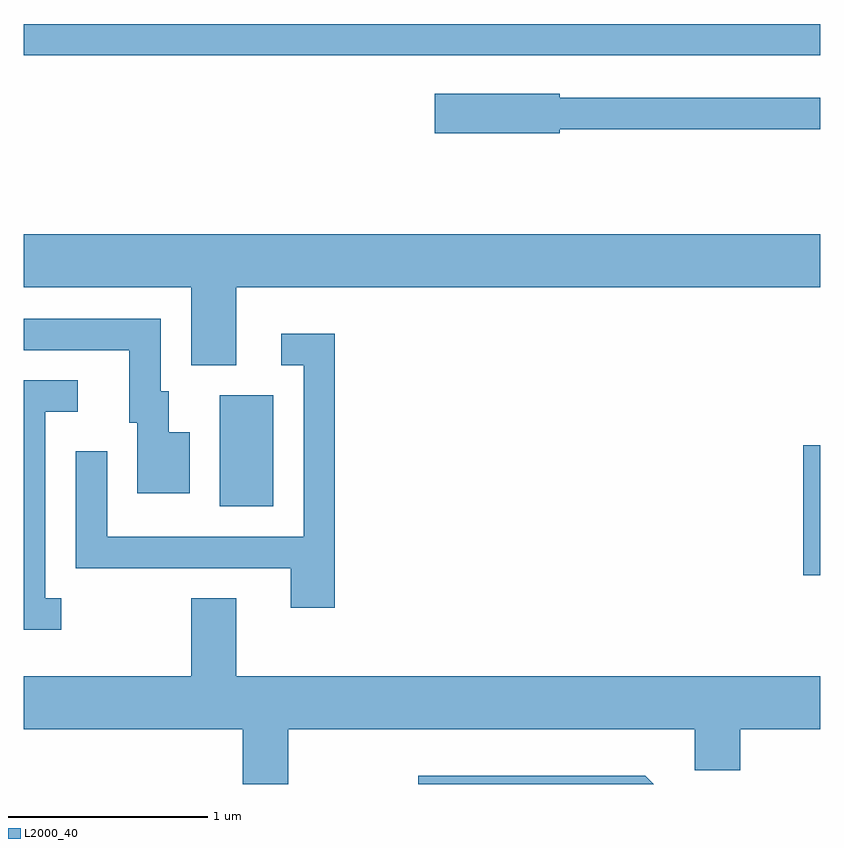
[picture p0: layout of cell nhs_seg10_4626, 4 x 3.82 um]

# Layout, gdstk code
import gdstk
lib = gdstk.Library(unit=1e-6, precision=1e-09)
def R(c, l, rs):  # rectangles x0, y0, x1, y1
    for r in rs: c.add(gdstk.rectangle(r[:2], r[2:], *l))
def P(c, l, *ps):  # polygons
    for p in ps: c.add(gdstk.Polygon(p, *l))
L2000_40 = (2000, 40)

nhs_seg10_4626 = lib.new_cell('nhs_seg10_4626')
R(nhs_seg10_4626, L2000_40, [(325.526,2123.571,325.611,2124.224), (322.596,2123.916,322.864,2124.474), (321.611,2126.181,325.611,2126.339)])
P(nhs_seg10_4626, L2000_40, [(324.304,2125.811),(325.611,2125.811),(325.611,2125.969),(324.304,2125.969),(324.304,2125.989),(323.676,2125.989),(323.676,2125.791),(324.304,2125.791)],
  [(322.679,2125.016),(325.611,2125.016),(325.611,2125.284),(321.611,2125.284),(321.611,2125.016),(322.451,2125.016),(322.451,2124.626),(322.679,2124.626)],
  [(322.444,2124.289),(322.339,2124.289),(322.339,2124.494),(322.299,2124.494),(322.299,2124.859),(321.611,2124.859),(321.611,2124.701),(322.141,2124.701),(322.141,2124.336),(322.181,2124.336),(322.181,2123.981),(322.444,2123.981)],
  [(323.174,2124.784),(322.903,2124.784),(322.903,2124.626),(323.016,2124.626),(323.016,2123.764),(322.029,2123.764),(322.029,2124.193),(321.871,2124.193),(321.871,2123.606),(322.951,2123.606),(322.951,2123.406),(323.174,2123.406)],
  [(321.798,2123.454),(321.719,2123.454),(321.719,2124.391),(321.883,2124.391),(321.883,2124.549),(321.611,2124.549),(321.611,2123.296),(321.798,2123.296)],
  [(322.939,2122.796),(324.981,2122.796),(324.981,2122.591),(325.209,2122.591),(325.209,2122.796),(325.611,2122.796),(325.611,2123.064),(322.679,2123.064),(322.679,2123.454),(322.451,2123.454),(322.451,2123.064),(321.611,2123.064),(321.611,2122.796),(322.711,2122.796),(322.711,2122.522),(322.939,2122.522)],
  [(324.732,2122.564),(323.593,2122.564),(323.593,2122.522),(324.774,2122.522)])

lib.write_gds('nhs_seg10_4626.gds')
